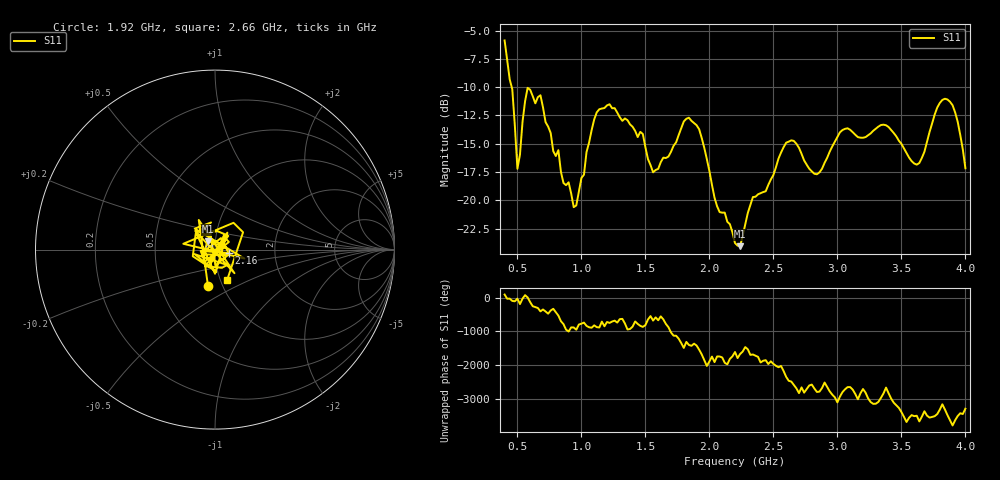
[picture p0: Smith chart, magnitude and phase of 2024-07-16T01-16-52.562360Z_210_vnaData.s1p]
!Created with skrf (http://scikit-rf.org).
# Hz S RI R 50.0
!freq ReS11 ImS11
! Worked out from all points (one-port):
!   181 points, 400 MHz to 4 GHz, reference 50 ohm
!   lowest |S11| = -24.1 dB at 2.24 GHz (marker M1), VSWR 1.13, Z = 45.8 + j4.33 ohm
!   |S11| at or under -10 dB: 455.4 MHz to end of sweep
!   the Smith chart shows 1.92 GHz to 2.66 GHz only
!   S11 on the Smith chart (normalised r, x): 1.92 GHz: 0.85, -0.36; 2.16 GHz: 1.16, -0.05; 2.66 GHz: 1.08, -0.38
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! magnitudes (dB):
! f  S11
! 400 MHz  -5.9
! 460 MHz  -10.2
! 500 MHz  -17.2
! 580 MHz  -10.1
! 680 MHz  -10.7
! 860 MHz  -18.5
! 960 MHz  -20.5
! 1.12 GHz  -12.2
! 1.3 GHz  -12.7
! 1.48 GHz  -14.1
! 1.56 GHz  -17.5
! 1.76 GHz  -14.2
! 1.84 GHz  -12.7
! 1.92 GHz  -13.7
! 2.06 GHz  -20.5
! 2.16 GHz  -22.1
! 2.2 GHz  -23.8
! 2.24 GHz  -24.1
! 2.34 GHz  -19.7
! 2.66 GHz  -14.8
! 2.84 GHz  -17.7
! 3.1 GHz  -13.8
! 3.38 GHz  -13.4
! 3.56 GHz  -16.2
! 3.64 GHz  -16.7
! 3.84 GHz  -11.0
! 3.92 GHz  -12.2
! 4 GHz  -17.2
